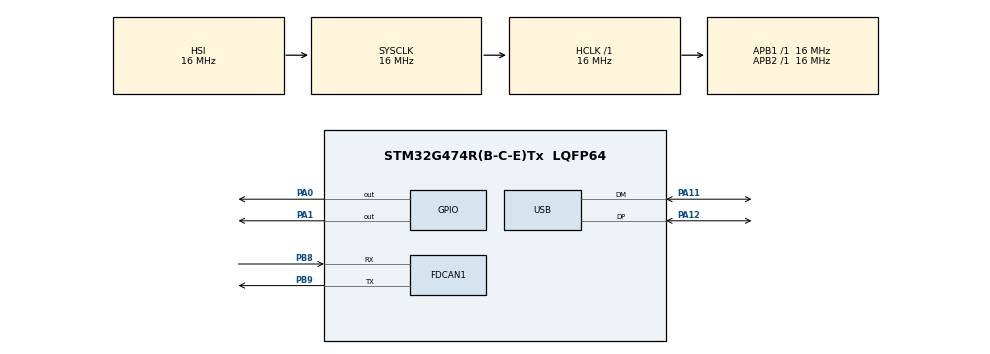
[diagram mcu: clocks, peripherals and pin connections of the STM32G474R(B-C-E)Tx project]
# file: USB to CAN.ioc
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FDCAN1.AutoRetransmission=ENABLE
FDCAN1.CalculateBaudRateNominal=500000
FDCAN1.CalculateTimeBitNominal=2000
FDCAN1.CalculateTimeQuantumNominal=125.0
FDCAN1.NominalPrescaler=2
FDCAN1.NominalSyncJumpWidth=2
FDCAN1.NominalTimeSeg1=13
FDCAN1.NominalTimeSeg2=2
FDCAN1.StdFiltersNbr=1
Mcu.Family=STM32G4
Mcu.Name=STM32G474R(B-C-E)Tx
Mcu.Package=LQFP64
NVIC.PriorityGroup=NVIC_PRIORITYGROUP_4
NVIC.USB_LP_IRQn=true\:0\:0\:false\:false\:true\:false\:true\:true
PA0.Signal=GPIO_Output
PA1.Signal=GPIO_Output
PA11.Mode=Device
PA11.Signal=USB_DM
PA12.Mode=Device
PA12.Signal=USB_DP
PA13.Mode=Serial_Wire
PA13.Signal=SYS_JTMS-SWDIO
PA14.Mode=Serial_Wire
PA14.Signal=SYS_JTCK-SWCLK
PB8-BOOT0.Mode=FDCAN_Activate
PB8-BOOT0.Signal=FDCAN1_RX
PB9.Mode=FDCAN_Activate
PB9.Signal=FDCAN1_TX
ProjectManager.HeapSize=0x200
ProjectManager.StackSize=0x400
ProjectManager.TargetToolchain=STM32CubeIDE
RCC.AHBFreq_Value=16000000
RCC.APB1Freq_Value=16000000
RCC.APB1TimFreq_Value=16000000
RCC.APB2Freq_Value=16000000
RCC.APB2TimFreq_Value=16000000
RCC.CortexFreq_Value=16000000
RCC.EXTERNAL_CLOCK_VALUE=12288000
RCC.HCLKFreq_Value=16000000
RCC.HSE_VALUE=8000000
RCC.HSI48_VALUE=48000000
RCC.HSI_VALUE=16000000
RCC.LSE_VALUE=32768
RCC.PLLN=12
RCC.PLLQ=RCC_PLLQ_DIV4
RCC.SYSCLKFreq_VALUE=16000000
RCC.USBFreq_Value=48000000
RCC.VCOOutputFreq_Value=192000000
USB_DEVICE.CLASS_NAME_FS=CDC
USB_DEVICE.VirtualMode=Cdc
USB_DEVICE.VirtualModeFS=Cdc_FS
VP_SYS_VS_DBSignals.Mode=DisableDeadBatterySignals
VP_USB_DEVICE_VS_USB_DEVICE_CDC_FS.Mode=CDC_FS
board=custom

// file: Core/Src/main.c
/* USER CODE BEGIN Header */
/**
  ******************************************************************************
  * @file           : main.c
  * @brief          : Main program body
  ******************************************************************************
  * @attention
  *
  * Copyright (c) 2026 STMicroelectronics.
  * All rights reserved.
  *
  * This software is licensed under terms that can be found in the LICENSE file
  * in the root directory of this software component.
  * If no LICENSE file comes with this software, it is provided AS-IS.
  *
  ******************************************************************************
  */
/* USER CODE END Header */
#include "main.h"
#include "usb_device.h"
#include "slcan.h"
#include "usbd_gsusb.h"

/* USER CODE BEGIN Includes */
#include "usbd_cdc_if.h"
#include <stdio.h>
#include <string.h>

/* USER CODE END Includes */

FDCAN_HandleTypeDef hfdcan1;

/* USER CODE BEGIN PV */

FDCAN_FilterTypeDef canFilter;
FDCAN_TxHeaderTypeDef txHeader;
FDCAN_RxHeaderTypeDef rxHeader;

uint8_t txData[1] = {0x00};
uint8_t rxData[8];

uint32_t lastBeaconTime = 0;
char usbMessage[160];

/* USER CODE END PV */

void SystemClock_Config(void);
static void MX_GPIO_Init(void);
static void MX_FDCAN1_Init(void);

HAL_StatusTypeDef CAN_ApplyFilters(void)
{
    FDCAN_FilterTypeDef canFilter = {0};

    canFilter.IdType = FDCAN_STANDARD_ID;
    canFilter.FilterIndex = 0;
    canFilter.FilterType = FDCAN_FILTER_RANGE;
    canFilter.FilterConfig = FDCAN_FILTER_TO_RXFIFO0;
    canFilter.FilterID1 = 0x000;
    canFilter.FilterID2 = 0x7FF;

    if (HAL_FDCAN_ConfigFilter(&hfdcan1, &canFilter) != HAL_OK)
    {
        return HAL_ERROR;
    }

    if (HAL_FDCAN_ConfigGlobalFilter(
            &hfdcan1,
            FDCAN_ACCEPT_IN_RX_FIFO0,
            FDCAN_ACCEPT_IN_RX_FIFO0,
            FDCAN_REJECT_REMOTE,
            FDCAN_REJECT_REMOTE) != HAL_OK)
    {
        return HAL_ERROR;
    }

    return HAL_OK;
}

int main(void)
{

  /* MCU Configuration--------------------------------------------------------*/

  /* Reset of all peripherals, Initializes the Flash interface and the Systick. */
  HAL_Init();

  /* Configure the system clock */
  SystemClock_Config();

  /* Initialize all configured peripherals */
  MX_GPIO_Init();
  MX_FDCAN1_Init();

  if (CAN_ApplyFilters() != HAL_OK)
  {
      Error_Handler();
  }

  MX_USB_Device_Init();

  /* USER CODE BEGIN 2 */

  /* Harmless beacon frame used for ODrive autobaud detection */
  txHeader.Identifier = 0x7DF;
  txHeader.IdType = FDCAN_STANDARD_ID;
  txHeader.TxFrameType = FDCAN_DATA_FRAME;
  txHeader.DataLength = FDCAN_DLC_BYTES_1;
  txHeader.ErrorStateIndicator = FDCAN_ESI_ACTIVE;
  txHeader.BitRateSwitch = FDCAN_BRS_OFF;
  txHeader.FDFormat = FDCAN_CLASSIC_CAN;
  txHeader.TxEventFifoControl = FDCAN_NO_TX_EVENTS;
  txHeader.MessageMarker = 0;

  if (HAL_FDCAN_Start(&hfdcan1) != HAL_OK)
  {
      Error_Handler();
  }
  SLCAN_Init();

  /* USER CODE END 2 */

  /* Infinite loop */
  while (1)
  {

    /* USER CODE BEGIN 3 */

    if (HAL_FDCAN_GetRxFifoFillLevel(
            &hfdcan1,
            FDCAN_RX_FIFO0) > 0)
    {
      memset(rxData, 0, sizeof(rxData));

      if (HAL_FDCAN_GetRxMessage(
              &hfdcan1,
              FDCAN_RX_FIFO0,
              &rxHeader,
              rxData) == HAL_OK)
      {
    	  HAL_GPIO_TogglePin(GPIOA, GPIO_PIN_0); //RX LED
    	  uint8_t dlc = 0;

    	  switch (rxHeader.DataLength)
    	  {
    	      case FDCAN_DLC_BYTES_0: dlc = 0; break;
    	      case FDCAN_DLC_BYTES_1: dlc = 1; break;
    	      case FDCAN_DLC_BYTES_2: dlc = 2; break;
    	      case FDCAN_DLC_BYTES_3: dlc = 3; break;
    	      case FDCAN_DLC_BYTES_4: dlc = 4; break;
    	      case FDCAN_DLC_BYTES_5: dlc = 5; break;
    	      case FDCAN_DLC_BYTES_6: dlc = 6; break;
    	      case FDCAN_DLC_BYTES_7: dlc = 7; break;
    	      case FDCAN_DLC_BYTES_8: dlc = 8; break;
    	      default: dlc = 0; break;
    	  }

    	  GSUSB_SendCANFrame(
    	      rxHeader.Identifier,
    	      rxHeader.IdType,
    	      rxHeader.RxFrameType,
    	      dlc,
    	      rxData);      }
    }

    HAL_Delay(1);

    /* USER CODE END 3 */
  }
}
void SystemClock_Config(void)
{
  RCC_OscInitTypeDef RCC_OscInitStruct = {0};
  RCC_ClkInitTypeDef RCC_ClkInitStruct = {0};

  /** Configure the main internal regulator output voltage
  */
  HAL_PWREx_ControlVoltageScaling(PWR_REGULATOR_VOLTAGE_SCALE1);

  /** Initializes the RCC Oscillators according to the specified parameters
  * in the RCC_OscInitTypeDef structure.
  */
  RCC_OscInitStruct.OscillatorType = RCC_OSCILLATORTYPE_HSI;
  RCC_OscInitStruct.HSIState = RCC_HSI_ON;
  RCC_OscInitStruct.HSICalibrationValue = RCC_HSICALIBRATION_DEFAULT;
  RCC_OscInitStruct.PLL.PLLState = RCC_PLL_ON;
  RCC_OscInitStruct.PLL.PLLSource = RCC_PLLSOURCE_HSI;
  RCC_OscInitStruct.PLL.PLLM = RCC_PLLM_DIV1;
  RCC_OscInitStruct.PLL.PLLN = 12;
  RCC_OscInitStruct.PLL.PLLP = RCC_PLLP_DIV2;
  RCC_OscInitStruct.PLL.PLLQ = RCC_PLLQ_DIV4;
  RCC_OscInitStruct.PLL.PLLR = RCC_PLLR_DIV2;
  if (HAL_RCC_OscConfig(&RCC_OscInitStruct) != HAL_OK)
  {
    Error_Handler();
  }

  /** Initializes the CPU, AHB and APB buses clocks
  */
  RCC_ClkInitStruct.ClockType = RCC_CLOCKTYPE_HCLK|RCC_CLOCKTYPE_SYSCLK
                              |RCC_CLOCKTYPE_PCLK1|RCC_CLOCKTYPE_PCLK2;
  RCC_ClkInitStruct.SYSCLKSource = RCC_SYSCLKSOURCE_HSI;
  RCC_ClkInitStruct.AHBCLKDivider = RCC_SYSCLK_DIV1;
  RCC_ClkInitStruct.APB1CLKDivider = RCC_HCLK_DIV1;
  RCC_ClkInitStruct.APB2CLKDivider = RCC_HCLK_DIV1;

  if (HAL_RCC_ClockConfig(&RCC_ClkInitStruct, FLASH_LATENCY_0) != HAL_OK)
  {
    Error_Handler();
  }
}

static void MX_FDCAN1_Init(void)
{

  hfdcan1.Instance = FDCAN2;
  hfdcan1.Init.ClockDivider = FDCAN_CLOCK_DIV1;
  hfdcan1.Init.FrameFormat = FDCAN_FRAME_CLASSIC;
  hfdcan1.Init.Mode = FDCAN_MODE_NORMAL;
  hfdcan1.Init.AutoRetransmission = ENABLE;
  hfdcan1.Init.TransmitPause = DISABLE;
  hfdcan1.Init.ProtocolException = DISABLE;
  hfdcan1.Init.NominalPrescaler = 1;
  hfdcan1.Init.NominalSyncJumpWidth = 2;
  hfdcan1.Init.NominalTimeSeg1 = 13;
  hfdcan1.Init.NominalTimeSeg2 = 2;
  hfdcan1.Init.DataPrescaler = 1;
  hfdcan1.Init.DataSyncJumpWidth = 1;
  hfdcan1.Init.DataTimeSeg1 = 1;
  hfdcan1.Init.DataTimeSeg2 = 1;
  hfdcan1.Init.StdFiltersNbr = 1;
  hfdcan1.Init.ExtFiltersNbr = 0;
  hfdcan1.Init.TxFifoQueueMode = FDCAN_TX_FIFO_OPERATION;
  if (HAL_FDCAN_Init(&hfdcan1) != HAL_OK)
  {
    Error_Handler();
  }

}

static void MX_GPIO_Init(void)
{
  GPIO_InitTypeDef GPIO_InitStruct = {0};

  /* GPIO Ports Clock Enable */
  __HAL_RCC_GPIOA_CLK_ENABLE();
  __HAL_RCC_GPIOB_CLK_ENABLE();

  /*Configure GPIO pin Output Level */
  HAL_GPIO_WritePin(GPIOA, GPIO_PIN_0|GPIO_PIN_1, GPIO_PIN_RESET);

  /*Configure GPIO pins : PA0 PA1 */
  GPIO_InitStruct.Pin = GPIO_PIN_0|GPIO_PIN_1;
  GPIO_InitStruct.Mode = GPIO_MODE_OUTPUT_PP;
  GPIO_InitStruct.Pull = GPIO_NOPULL;
  GPIO_InitStruct.Speed = GPIO_SPEED_FREQ_LOW;
  HAL_GPIO_Init(GPIOA, &GPIO_InitStruct);

}

void Error_Handler(void)
{
  __disable_irq();
  while (1)
  {
  }
}
